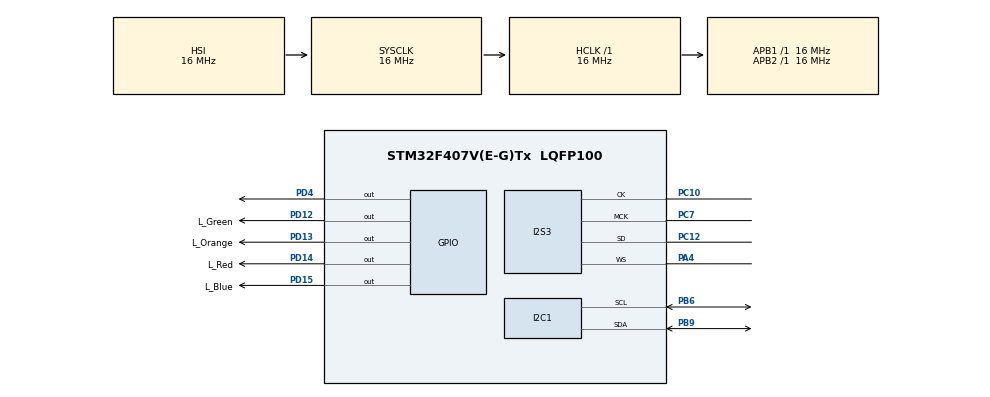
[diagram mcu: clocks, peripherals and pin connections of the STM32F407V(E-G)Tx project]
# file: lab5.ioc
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Dma.Request0=SPI3_TX
Dma.SPI3_TX.0.Direction=DMA_MEMORY_TO_PERIPH
Dma.SPI3_TX.0.FIFOMode=DMA_FIFOMODE_ENABLE
Dma.SPI3_TX.0.FIFOThreshold=DMA_FIFO_THRESHOLD_FULL
Dma.SPI3_TX.0.Instance=DMA1_Stream5
Dma.SPI3_TX.0.MemBurst=DMA_MBURST_SINGLE
Dma.SPI3_TX.0.MemDataAlignment=DMA_MDATAALIGN_HALFWORD
Dma.SPI3_TX.0.MemInc=DMA_MINC_ENABLE
Dma.SPI3_TX.0.Mode=DMA_CIRCULAR
Dma.SPI3_TX.0.PeriphBurst=DMA_PBURST_SINGLE
Dma.SPI3_TX.0.PeriphDataAlignment=DMA_PDATAALIGN_HALFWORD
Dma.SPI3_TX.0.PeriphInc=DMA_PINC_DISABLE
Dma.SPI3_TX.0.Priority=DMA_PRIORITY_LOW
I2S3.AudioFreq=I2S_AUDIOFREQ_48K
I2S3.ErrorAudioFreq=-2.34 %
I2S3.FullDuplexMode=I2S_FULLDUPLEXMODE_DISABLE
I2S3.Instance=SPI$Index
I2S3.RealAudioFreq=46.875 KHz
I2S3.VirtualMode=I2S_MODE_MASTER
Mcu.Family=STM32F4
Mcu.Name=STM32F407V(E-G)Tx
Mcu.Package=LQFP100
NVIC.DMA1_Stream5_IRQn=true\:0\:0\:false\:false\:true\:false\:true\:true
NVIC.PriorityGroup=NVIC_PRIORITYGROUP_4
PA4.Mode=Half_Duplex_Master
PA4.Signal=I2S3_WS
PB6.Mode=I2C
PB6.Signal=I2C1_SCL
PB9.Mode=I2C
PB9.Signal=I2C1_SDA
PC10.Mode=Half_Duplex_Master
PC10.Signal=I2S3_CK
PC12.Mode=Half_Duplex_Master
PC12.Signal=I2S3_SD
PC7.Mode=Master_Clock_Activated
PC7.Signal=I2S3_MCK
PD12.GPIO_Label=L_Green
PD12.Signal=GPIO_Output
PD13.GPIO_Label=L_Orange
PD13.Signal=GPIO_Output
PD14.GPIO_Label=L_Red
PD14.Signal=GPIO_Output
PD15.GPIO_Label=L_Blue
PD15.Signal=GPIO_Output
PD4.Signal=GPIO_Output
ProjectManager.HeapSize=0x200
ProjectManager.StackSize=0x400
ProjectManager.TargetToolchain=STM32CubeIDE
RCC.AHBFreq_Value=16000000
RCC.APB1Freq_Value=16000000
RCC.APB2Freq_Value=16000000
RCC.CortexFreq_Value=16000000
RCC.HSE_VALUE=25000000
RCC.HSI_VALUE=16000000
RCC.LSE_VALUE=32768
RCC.SYSCLKFreq_VALUE=16000000
RCC.VCOOutputFreq_Value=192000000
board=custom

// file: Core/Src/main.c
/* USER CODE BEGIN Header */
/**
  ******************************************************************************
  * @file           : main.c
  * @brief          : Main program body
  ******************************************************************************
  * @attention
  *
  * Copyright (c) 2025 STMicroelectronics.
  * All rights reserved.
  *
  * This software is licensed under terms that can be found in the LICENSE file
  * in the root directory of this software component.
  * If no LICENSE file comes with this software, it is provided AS-IS.
  *
  ******************************************************************************
  */
/* USER CODE END Header */
#include "main.h"

/* USER CODE BEGIN PTD */
typedef enum
{
    C4,
    D4,
    E4,
    F4,
    G4,
    A4,
    B4,
    C5,
    D5,
    E5,
    F5,
    G5,
    A5,
    B5,
    C6,
    D6
} soundToneType;

/* USER CODE END PTD */

/* USER CODE BEGIN PD */

#define CS43L22_I2C_ADDRESS 0x94
#define I2C_TIMEOUT 10

/* USER CODE END PD */

I2C_HandleTypeDef hi2c1;

I2S_HandleTypeDef hi2s3;
DMA_HandleTypeDef hdma_spi3_tx;

/* USER CODE BEGIN PV */
int16_t dataI2S[100]={0};
int count = 0;
/* USER CODE END PV */

void SystemClock_Config(void);
static void MX_GPIO_Init(void);
static void MX_DMA_Init(void);
static void MX_I2C1_Init(void);
static void MX_I2S3_Init(void);

/* USER CODE BEGIN 0 */

void CS43L22_Init(void)
{
	HAL_GPIO_WritePin(GPIOD, GPIO_PIN_4, GPIO_PIN_SET);

	uint8_t TxBuffer[2];

	TxBuffer[0] = 0x0D;
	TxBuffer[1] = 0x01;
	HAL_I2C_Master_Transmit(&hi2c1, CS43L22_I2C_ADDRESS, (uint8_t*) &TxBuffer, 2, I2C_TIMEOUT);

	TxBuffer[0] = 0x00;
	TxBuffer[1] = 0x99;
	HAL_I2C_Master_Transmit(&hi2c1, CS43L22_I2C_ADDRESS, (uint8_t*) &TxBuffer, 2, I2C_TIMEOUT);

	TxBuffer[0] = 0x47;
	TxBuffer[1] = 0x80;
	HAL_I2C_Master_Transmit(&hi2c1, CS43L22_I2C_ADDRESS, (uint8_t*) &TxBuffer, 2, I2C_TIMEOUT);

	TxBuffer[0] = 0x32;
	TxBuffer[1] = 0xFF;
	HAL_I2C_Master_Transmit(&hi2c1, CS43L22_I2C_ADDRESS, (uint8_t*) &TxBuffer, 2, I2C_TIMEOUT);

	TxBuffer[0] = 0x32;
	TxBuffer[1] = 0x7F;
	HAL_I2C_Master_Transmit(&hi2c1, CS43L22_I2C_ADDRESS, (uint8_t*) &TxBuffer, 2, I2C_TIMEOUT);

	TxBuffer[0] = 0x00;
	TxBuffer[1] = 0x00;
	HAL_I2C_Master_Transmit(&hi2c1, CS43L22_I2C_ADDRESS, (uint8_t*) &TxBuffer, 2, I2C_TIMEOUT);

	TxBuffer[0] = 0x04;
	TxBuffer[1] = 0xAF;
	HAL_I2C_Master_Transmit(&hi2c1, CS43L22_I2C_ADDRESS, (uint8_t*) &TxBuffer, 2, I2C_TIMEOUT);

	TxBuffer[0] = 0x0D;
	TxBuffer[1] = 0x70;
	HAL_I2C_Master_Transmit(&hi2c1, CS43L22_I2C_ADDRESS, (uint8_t*) &TxBuffer, 2, I2C_TIMEOUT);

	TxBuffer[0] = 0x05;
	TxBuffer[1] = 0x81;
	HAL_I2C_Master_Transmit(&hi2c1, CS43L22_I2C_ADDRESS, (uint8_t*) &TxBuffer, 2, I2C_TIMEOUT);

	TxBuffer[0] = 0x06;
	TxBuffer[1] = 0x07;
	HAL_I2C_Master_Transmit(&hi2c1, CS43L22_I2C_ADDRESS, (uint8_t*) &TxBuffer, 2, I2C_TIMEOUT);

	TxBuffer[0] = 0x0A;
	TxBuffer[1] = 0x00;
	HAL_I2C_Master_Transmit(&hi2c1, CS43L22_I2C_ADDRESS, (uint8_t*) &TxBuffer, 2, I2C_TIMEOUT);

	TxBuffer[0] = 0x27;
	TxBuffer[1] = 0x00;
	HAL_I2C_Master_Transmit(&hi2c1, CS43L22_I2C_ADDRESS, (uint8_t*) &TxBuffer, 2, I2C_TIMEOUT);

	TxBuffer[0] = 0x1A;
	TxBuffer[1] = 0x0A;
	HAL_I2C_Master_Transmit(&hi2c1, CS43L22_I2C_ADDRESS, (uint8_t*) &TxBuffer, 2, I2C_TIMEOUT);

	TxBuffer[0] = 0x1B;
	TxBuffer[1] = 0x0A;
	HAL_I2C_Master_Transmit(&hi2c1, CS43L22_I2C_ADDRESS, (uint8_t*) &TxBuffer, 2, I2C_TIMEOUT);

	TxBuffer[0] = 0x1F;
	TxBuffer[1] = 0x0F;
	HAL_I2C_Master_Transmit(&hi2c1, CS43L22_I2C_ADDRESS, (uint8_t*) &TxBuffer, 2, I2C_TIMEOUT);

	TxBuffer[0] = 0x02;
	TxBuffer[1] = 0x9E;
	HAL_I2C_Master_Transmit(&hi2c1, CS43L22_I2C_ADDRESS, (uint8_t*) &TxBuffer, 2, I2C_TIMEOUT);
}

void CS43L22_Beep(soundToneType pitch, uint32_t duration_ms)
{
	uint8_t TxBuffer[2];

	TxBuffer[0] = 0x1D;
	TxBuffer[1] = 0x00;
	HAL_I2C_Master_Transmit(&hi2c1, CS43L22_I2C_ADDRESS, (uint8_t*)&TxBuffer, 2, I2C_TIMEOUT);

	TxBuffer[0] = 0x1C;

	switch (pitch)
	{
	    case C4: TxBuffer[1] = 0x00; break;
	    case D4: TxBuffer[1] = 0x10; break;
	    case E4: TxBuffer[1] = 0x20; break;
	    case F4: TxBuffer[1] = 0x30; break;
	    case G4: TxBuffer[1] = 0x40; break;
	    case A4: TxBuffer[1] = 0x50; break;
	    case B4: TxBuffer[1] = 0x60; break;

	    case C5: TxBuffer[1] = 0x70; break;
	    case D5: TxBuffer[1] = 0x80; break;
	    case E5: TxBuffer[1] = 0x90; break;
	    case F5: TxBuffer[1] = 0xA0; break;
	    case G5: TxBuffer[1] = 0xB0; break;
	    case A5: TxBuffer[1] = 0xC0; break;
	    case B5: TxBuffer[1] = 0xD0; break;

	    case C6: TxBuffer[1] = 0xE0; break;
	    case D6: TxBuffer[1] = 0xF0; break;

	    default:
	        TxBuffer[1] = 0x00;
	        break;
	}

	HAL_I2C_Master_Transmit(&hi2c1, CS43L22_I2C_ADDRESS, (uint8_t*)&TxBuffer, 2, I2C_TIMEOUT);

	// Enable continuous mode (SOUND STARTED)
	TxBuffer[0] = 0x1E;
	TxBuffer[1] = 0xC0;
	HAL_I2C_Master_Transmit(&hi2c1, CS43L22_I2C_ADDRESS, (uint8_t*)&TxBuffer, 2, I2C_TIMEOUT);

	// Playing...
	HAL_Delay(duration_ms);

	// Disable continuous mode (SOUND STOPPED)
	TxBuffer[0] = 0x1E;
	TxBuffer[1] = 0x00;
	HAL_I2C_Master_Transmit(&hi2c1, CS43L22_I2C_ADDRESS, (uint8_t*)&TxBuffer, 2, I2C_TIMEOUT);
}
/* USER CODE END 0 */

int main(void)
{

  /* MCU Configuration--------------------------------------------------------*/

  /* Reset of all peripherals, Initializes the Flash interface and the Systick. */
  HAL_Init();

  /* Configure the system clock */
  SystemClock_Config();

  /* Initialize all configured peripherals */
  MX_GPIO_Init();
  MX_DMA_Init();
  MX_I2C1_Init();
  MX_I2S3_Init();
  /* USER CODE BEGIN 2 */
  CS43L22_Init();
  HAL_I2S_Transmit_DMA(&hi2s3, (uint16_t *)dataI2S, 100);

  /* USER CODE END 2 */

  /* Infinite loop */
  /* USER CODE BEGIN WHILE */
  while (1)
  {
	  // Ultimate nokia

	  while (1)
	  {
	      if (count < 3)
	      {

	    	  CS43L22_Beep(C4, 350);
	    	  HAL_Delay(80);
	    	  CS43L22_Beep(G4, 350);
	    	  HAL_Delay(80);
	    	  CS43L22_Beep(A4, 400);

	    	  HAL_GPIO_WritePin(GPIOD,L_Blue_Pin,GPIO_PIN_SET);
	    	  HAL_GPIO_WritePin(GPIOD,L_Orange_Pin,GPIO_PIN_SET);
	    	  HAL_GPIO_WritePin(GPIOD,L_Red_Pin,GPIO_PIN_SET);
	    	  HAL_GPIO_WritePin(GPIOD,L_Green_Pin,GPIO_PIN_SET);
	    	  HAL_Delay(150);
	    	  HAL_GPIO_WritePin(GPIOD,L_Blue_Pin,GPIO_PIN_RESET);
	    	  HAL_GPIO_WritePin(GPIOD,L_Orange_Pin,GPIO_PIN_RESET);
	    	  HAL_GPIO_WritePin(GPIOD,L_Green_Pin,GPIO_PIN_RESET);
	    	  HAL_GPIO_WritePin(GPIOD,L_Red_Pin,GPIO_PIN_RESET);

	    	  CS43L22_Beep(G4, 300);
	    	  HAL_Delay(70);
	    	  CS43L22_Beep(E4, 300);
	    	  HAL_Delay(70);
	    	  CS43L22_Beep(C4, 500);
	    	  HAL_GPIO_WritePin(GPIOD,L_Blue_Pin,GPIO_PIN_SET);
	    	  HAL_GPIO_WritePin(GPIOD,L_Orange_Pin,GPIO_PIN_SET);
	    	  HAL_Delay(150);
	    	  HAL_GPIO_WritePin(GPIOD,L_Blue_Pin,GPIO_PIN_RESET);
	    	  HAL_GPIO_WritePin(GPIOD,L_Orange_Pin,GPIO_PIN_RESET);
	    	  HAL_GPIO_WritePin(GPIOD,L_Red_Pin,GPIO_PIN_SET);
	    	  HAL_GPIO_WritePin(GPIOD,L_Green_Pin,GPIO_PIN_SET);
	    	  CS43L22_Beep(D4, 350);
	    	  HAL_Delay(80);
	    	  CS43L22_Beep(F4, 350);
	    	  HAL_Delay(80);
	    	  CS43L22_Beep(A4, 400);
	    	  HAL_Delay(150);
	    	  HAL_GPIO_WritePin(GPIOD,L_Green_Pin,GPIO_PIN_RESET);
	    	  HAL_GPIO_WritePin(GPIOD,L_Red_Pin,GPIO_PIN_RESET);
	    	  HAL_GPIO_WritePin(GPIOD,L_Blue_Pin,GPIO_PIN_SET);
	    	  HAL_GPIO_WritePin(GPIOD,L_Orange_Pin,GPIO_PIN_SET);
	    	  CS43L22_Beep(G4, 300);
	    	  HAL_Delay(70);
	    	  CS43L22_Beep(E4, 300);
	    	  HAL_Delay(70);
	    	  CS43L22_Beep(C4, 600);
	          HAL_Delay(150);
	    	  HAL_GPIO_WritePin(GPIOD,L_Blue_Pin,GPIO_PIN_RESET);
	    	  HAL_GPIO_WritePin(GPIOD,L_Orange_Pin,GPIO_PIN_RESET);
	          count++;
	          HAL_Delay(1500);
	      }
	      else
	      {
	    	  HAL_GPIO_WritePin(GPIOD,L_Blue_Pin,GPIO_PIN_RESET);
	    	  HAL_GPIO_WritePin(GPIOD,L_Orange_Pin,GPIO_PIN_RESET);
	    	  HAL_GPIO_WritePin(GPIOD,L_Green_Pin,GPIO_PIN_RESET);
	    	  HAL_GPIO_WritePin(GPIOD,L_Red_Pin,GPIO_PIN_RESET);
	          HAL_Delay(2000);
	      }
	  }
    /* USER CODE END WHILE */

  }
}

void SystemClock_Config(void)
{
  RCC_OscInitTypeDef RCC_OscInitStruct = {0};
  RCC_ClkInitTypeDef RCC_ClkInitStruct = {0};

  /** Macro to configure the PLL multiplication factor
  */
  __HAL_RCC_PLL_PLLM_CONFIG(16);

  /** Macro to configure the PLL clock source
  */
  __HAL_RCC_PLL_PLLSOURCE_CONFIG(RCC_PLLSOURCE_HSI);

  /** Configure the main internal regulator output voltage
  */
  __HAL_RCC_PWR_CLK_ENABLE();
  __HAL_PWR_VOLTAGESCALING_CONFIG(PWR_REGULATOR_VOLTAGE_SCALE1);

  /** Initializes the RCC Oscillators according to the specified parameters
  * in the RCC_OscInitTypeDef structure.
  */
  RCC_OscInitStruct.OscillatorType = RCC_OSCILLATORTYPE_HSI;
  RCC_OscInitStruct.HSIState = RCC_HSI_ON;
  RCC_OscInitStruct.HSICalibrationValue = RCC_HSICALIBRATION_DEFAULT;
  RCC_OscInitStruct.PLL.PLLState = RCC_PLL_NONE;
  RCC_OscInitStruct.PLL.PLLSource = RCC_PLLSOURCE_HSI;
  if (HAL_RCC_OscConfig(&RCC_OscInitStruct) != HAL_OK)
  {
    Error_Handler();
  }

  /** Initializes the CPU, AHB and APB buses clocks
  */
  RCC_ClkInitStruct.ClockType = RCC_CLOCKTYPE_HCLK|RCC_CLOCKTYPE_SYSCLK
                              |RCC_CLOCKTYPE_PCLK1|RCC_CLOCKTYPE_PCLK2;
  RCC_ClkInitStruct.SYSCLKSource = RCC_SYSCLKSOURCE_HSI;
  RCC_ClkInitStruct.AHBCLKDivider = RCC_SYSCLK_DIV1;
  RCC_ClkInitStruct.APB1CLKDivider = RCC_HCLK_DIV1;
  RCC_ClkInitStruct.APB2CLKDivider = RCC_HCLK_DIV1;

  if (HAL_RCC_ClockConfig(&RCC_ClkInitStruct, FLASH_LATENCY_0) != HAL_OK)
  {
    Error_Handler();
  }
}

static void MX_I2C1_Init(void)
{

  hi2c1.Instance = I2C1;
  hi2c1.Init.ClockSpeed = 100000;
  hi2c1.Init.DutyCycle = I2C_DUTYCYCLE_2;
  hi2c1.Init.OwnAddress1 = 0;
  hi2c1.Init.AddressingMode = I2C_ADDRESSINGMODE_7BIT;
  hi2c1.Init.DualAddressMode = I2C_DUALADDRESS_DISABLE;
  hi2c1.Init.OwnAddress2 = 0;
  hi2c1.Init.GeneralCallMode = I2C_GENERALCALL_DISABLE;
  hi2c1.Init.NoStretchMode = I2C_NOSTRETCH_DISABLE;
  if (HAL_I2C_Init(&hi2c1) != HAL_OK)
  {
    Error_Handler();
  }

}

static void MX_I2S3_Init(void)
{

  hi2s3.Instance = SPI3;
  hi2s3.Init.Mode = I2S_MODE_MASTER_TX;
  hi2s3.Init.Standard = I2S_STANDARD_PHILIPS;
  hi2s3.Init.DataFormat = I2S_DATAFORMAT_16B;
  hi2s3.Init.MCLKOutput = I2S_MCLKOUTPUT_ENABLE;
  hi2s3.Init.AudioFreq = I2S_AUDIOFREQ_48K;
  hi2s3.Init.CPOL = I2S_CPOL_LOW;
  hi2s3.Init.ClockSource = I2S_CLOCK_PLL;
  hi2s3.Init.FullDuplexMode = I2S_FULLDUPLEXMODE_DISABLE;
  if (HAL_I2S_Init(&hi2s3) != HAL_OK)
  {
    Error_Handler();
  }

}

static void MX_DMA_Init(void)
{

  /* DMA controller clock enable */
  __HAL_RCC_DMA1_CLK_ENABLE();

  /* DMA interrupt init */
  /* DMA1_Stream5_IRQn interrupt configuration */
  HAL_NVIC_SetPriority(DMA1_Stream5_IRQn, 0, 0);
  HAL_NVIC_EnableIRQ(DMA1_Stream5_IRQn);

}

static void MX_GPIO_Init(void)
{
  GPIO_InitTypeDef GPIO_InitStruct = {0};

  /* GPIO Ports Clock Enable */
  __HAL_RCC_GPIOA_CLK_ENABLE();
  __HAL_RCC_GPIOD_CLK_ENABLE();
  __HAL_RCC_GPIOC_CLK_ENABLE();
  __HAL_RCC_GPIOB_CLK_ENABLE();

  /*Configure GPIO pin Output Level */
  HAL_GPIO_WritePin(GPIOD, L_Green_Pin|L_Orange_Pin|L_Red_Pin|L_Blue_Pin
                          |GPIO_PIN_4, GPIO_PIN_RESET);

  /*Configure GPIO pins : L_Green_Pin L_Orange_Pin L_Red_Pin L_Blue_Pin
                           PD4 */
  GPIO_InitStruct.Pin = L_Green_Pin|L_Orange_Pin|L_Red_Pin|L_Blue_Pin
                          |GPIO_PIN_4;
  GPIO_InitStruct.Mode = GPIO_MODE_OUTPUT_PP;
  GPIO_InitStruct.Pull = GPIO_NOPULL;
  GPIO_InitStruct.Speed = GPIO_SPEED_FREQ_LOW;
  HAL_GPIO_Init(GPIOD, &GPIO_InitStruct);

}

void Error_Handler(void)
{
  __disable_irq();
  while (1)
  {
  }
}
